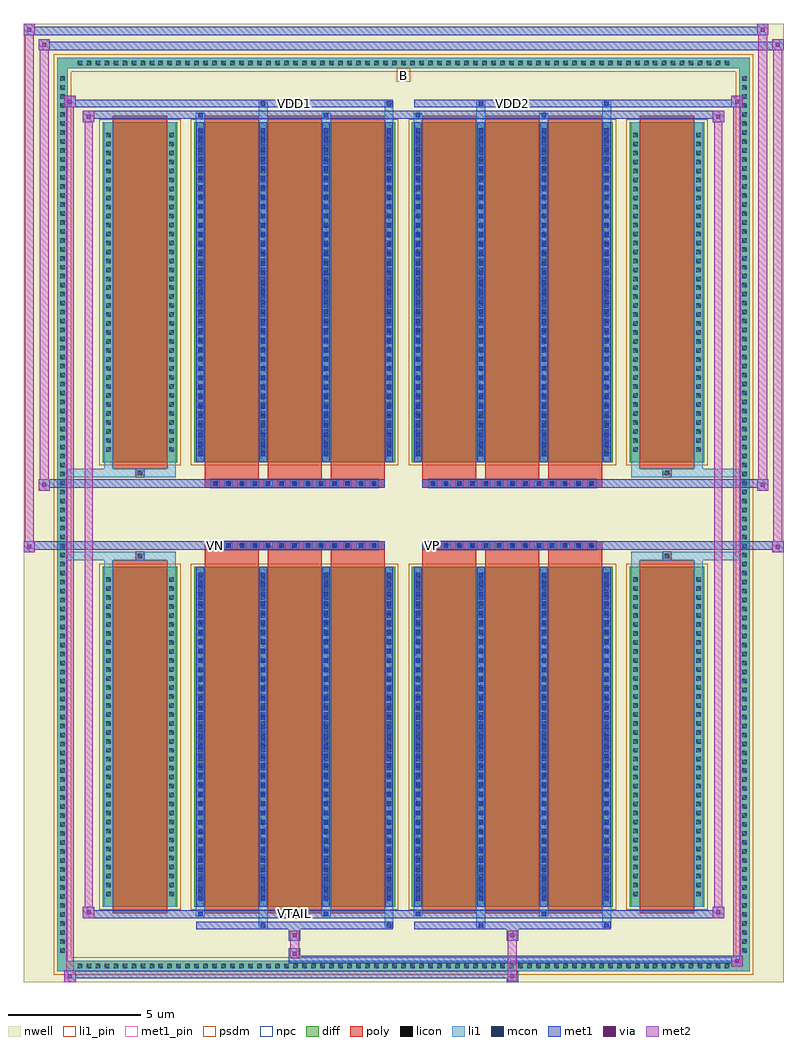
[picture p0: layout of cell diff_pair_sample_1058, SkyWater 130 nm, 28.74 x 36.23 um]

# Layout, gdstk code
import gdstk
lib = gdstk.Library(unit=1e-6, precision=5e-09)
def R(c, l, rs):  # rectangles x0, y0, x1, y1
    for r in rs: c.add(gdstk.rectangle(r[:2], r[2:], *l))
def A(c, l, x, y, w, h, nx, ny, dx, dy):  # array of equal rectangles
    R(c, l, [(x+i*dx, y+j*dy, x+i*dx+w, y+j*dy+h) for i in range(nx) for j in range(ny)])
def P(c, l, *ps):  # polygons
    for p in ps: c.add(gdstk.Polygon(p, *l))
nwell = (64, 20)
diff = (65, 20)
poly = (66, 20)
licon = (66, 44)
li1_pin = (67, 16)
li1 = (67, 20)
mcon = (67, 44)
met1_pin = (68, 16)
met1 = (68, 20)
via = (68, 44)
met2 = (69, 20)
psdm = (94, 20)
npc = (95, 20)

diff_pair_sample_1058 = lib.new_cell('diff_pair_sample_1058')
R(diff_pair_sample_1058, nwell, [(-14.37,-17.68,14.37,18.55), (-11.69,-15.87,-0.01,-0.805), (0.01,-15.87,11.69,-0.805), (-11.69,0.805,-0.01,15.87), (0.01,0.805,11.69,15.87)])
A(diff_pair_sample_1058, diff, -12.445, -17.28, 0.41, 0.41, 73, 2, 0.34, 34.15)
A(diff_pair_sample_1058, diff, -13.1, -16.695, 0.41, 0.41, 1, 98, 0, 0.34)
A(diff_pair_sample_1058, diff, 12.69, -16.695, 0.41, 0.41, 1, 98, 0, 0.34)
R(diff_pair_sample_1058, diff, [(-12.445,-17.28,12.445,-16.87), (-13.1,-16.695,-12.69,16.695), (12.69,-16.695,13.1,16.695), (-11.38,-14.825,-8.55,-1.985), (-7.91,-14.825,-0.32,-1.985), (0.32,-14.825,7.91,-1.985), (8.55,-14.825,11.38,-1.985), (-11.38,1.985,-8.55,14.825), (-7.91,1.985,-0.32,14.825), (0.32,1.985,7.91,14.825), (8.55,1.985,11.38,14.825), (-12.445,16.87,12.445,17.28)])
P(diff_pair_sample_1058, diff, [(13.1,17.28),(-13.1,17.28),(-13.1,-16.87),(-12.69,-16.87),(-12.69,16.87),(12.69,16.87),(12.69,-16.87),(-12.69,-16.87),(-13.1,-16.87),(-13.1,-17.28),(13.1,-17.28)])
A(diff_pair_sample_1058, poly, -7.52, -15.075, 2.05, 13.34, 3, 2, 2.38, 16.81)
A(diff_pair_sample_1058, poly, 0.71, -15.075, 2.05, 13.34, 3, 2, 2.38, 16.81)
A(diff_pair_sample_1058, poly, -7.52, -1.735, 2.05, 0.4, 3, 2, 2.38, 3.07)
A(diff_pair_sample_1058, poly, 0.71, -1.735, 2.05, 0.4, 3, 2, 2.38, 3.07)
A(diff_pair_sample_1058, poly, -7.28, -1.335, 0.33, 0.33, 13, 2, 0.5, 2.34)
A(diff_pair_sample_1058, poly, 0.95, -1.335, 0.33, 0.33, 13, 2, 0.5, 2.34)
R(diff_pair_sample_1058, poly, [(-10.99,-15.075,-8.94,-1.735), (8.94,-15.075,10.99,-1.735), (-10.13,-1.735,-9.8,-1.405), (-10.13,-1.735,-9.8,-1.405), (9.8,-1.735,10.13,-1.405), (9.8,-1.735,10.13,-1.405), (-7.52,-1.335,-0.71,-1.005), (0.71,-1.335,7.52,-1.005), (-7.52,1.005,-0.71,1.335), (0.71,1.005,7.52,1.335), (-10.13,1.405,-9.8,1.735), (-10.13,1.405,-9.8,1.735), (9.8,1.405,10.13,1.735), (9.8,1.405,10.13,1.735), (-10.99,1.735,-8.94,15.075), (8.94,1.735,10.99,15.075)])
A(diff_pair_sample_1058, licon, -12.325, -17.16, 0.17, 0.17, 73, 2, 0.34, 34.15)
A(diff_pair_sample_1058, licon, -12.98, -16.575, 0.17, 0.17, 1, 98, 0, 0.34)
A(diff_pair_sample_1058, licon, 12.81, -16.575, 0.17, 0.17, 1, 98, 0, 0.34)
A(diff_pair_sample_1058, licon, -11.24, -14.44, 0.17, 0.17, 1, 36, 0, 0.34)
A(diff_pair_sample_1058, licon, -8.86, -14.44, 0.17, 0.17, 1, 36, 0, 0.34)
A(diff_pair_sample_1058, licon, -7.77, -14.44, 0.17, 0.17, 4, 36, 2.38, 0.34)
A(diff_pair_sample_1058, licon, 0.46, -14.44, 0.17, 0.17, 4, 36, 2.38, 0.34)
A(diff_pair_sample_1058, licon, 8.69, -14.44, 0.17, 0.17, 1, 36, 0, 0.34)
A(diff_pair_sample_1058, licon, 11.07, -14.44, 0.17, 0.17, 1, 36, 0, 0.34)
A(diff_pair_sample_1058, licon, -7.2, -1.255, 0.17, 0.17, 13, 2, 0.5, 2.34)
A(diff_pair_sample_1058, licon, 1.03, -1.255, 0.17, 0.17, 13, 2, 0.5, 2.34)
A(diff_pair_sample_1058, licon, -11.24, 2.37, 0.17, 0.17, 1, 36, 0, 0.34)
A(diff_pair_sample_1058, licon, -8.86, 2.37, 0.17, 0.17, 1, 36, 0, 0.34)
A(diff_pair_sample_1058, licon, -7.77, 2.37, 0.17, 0.17, 4, 36, 2.38, 0.34)
A(diff_pair_sample_1058, licon, 0.46, 2.37, 0.17, 0.17, 4, 36, 2.38, 0.34)
A(diff_pair_sample_1058, licon, 8.69, 2.37, 0.17, 0.17, 1, 36, 0, 0.34)
A(diff_pair_sample_1058, licon, 11.07, 2.37, 0.17, 0.17, 1, 36, 0, 0.34)
R(diff_pair_sample_1058, licon, [(-10.05,-1.655,-9.88,-1.485), (9.88,-1.655,10.05,-1.485), (-10.05,1.485,-9.88,1.655), (9.88,1.485,10.05,1.655)])
R(diff_pair_sample_1058, li1_pin, [(-0.25,16.37,0.25,16.87)])
A(diff_pair_sample_1058, li1, -12.405, -17.24, 0.33, 0.33, 73, 2, 0.34, 34.15)
A(diff_pair_sample_1058, li1, -13.06, -16.655, 0.33, 0.33, 1, 98, 0, 0.34)
A(diff_pair_sample_1058, li1, 12.73, -16.655, 0.33, 0.33, 1, 98, 0, 0.34)
A(diff_pair_sample_1058, li1, -7.85, -14.825, 0.33, 12.84, 4, 2, 2.38, 16.81)
A(diff_pair_sample_1058, li1, 0.38, -14.825, 0.33, 12.84, 4, 2, 2.38, 16.81)
A(diff_pair_sample_1058, li1, -7.77, -14.61, 0.17, 0.17, 4, 35, 2.38, 0.36)
A(diff_pair_sample_1058, li1, -7.77, -14.61, 0.17, 12.41, 4, 2, 2.38, 16.81)
A(diff_pair_sample_1058, li1, 0.46, -14.61, 0.17, 0.17, 4, 35, 2.38, 0.36)
A(diff_pair_sample_1058, li1, 0.46, -14.61, 0.17, 12.41, 4, 2, 2.38, 16.81)
A(diff_pair_sample_1058, li1, -11.32, -14.52, 0.33, 0.33, 1, 36, 0, 0.34)
A(diff_pair_sample_1058, li1, -8.94, -14.52, 0.33, 0.33, 1, 36, 0, 0.34)
A(diff_pair_sample_1058, li1, -7.85, -14.52, 0.33, 0.33, 4, 36, 2.38, 0.34)
A(diff_pair_sample_1058, li1, 0.38, -14.52, 0.33, 0.33, 4, 36, 2.38, 0.34)
A(diff_pair_sample_1058, li1, 8.61, -14.52, 0.33, 0.33, 1, 36, 0, 0.34)
A(diff_pair_sample_1058, li1, 10.99, -14.52, 0.33, 0.33, 1, 36, 0, 0.34)
A(diff_pair_sample_1058, li1, -7.28, -1.335, 0.33, 0.33, 13, 2, 0.5, 2.34)
A(diff_pair_sample_1058, li1, 0.95, -1.335, 0.33, 0.33, 13, 2, 0.5, 2.34)
A(diff_pair_sample_1058, li1, -7.77, 2.2, 0.17, 0.17, 4, 35, 2.38, 0.36)
A(diff_pair_sample_1058, li1, 0.46, 2.2, 0.17, 0.17, 4, 35, 2.38, 0.36)
A(diff_pair_sample_1058, li1, -11.32, 2.29, 0.33, 0.33, 1, 36, 0, 0.34)
A(diff_pair_sample_1058, li1, -8.94, 2.29, 0.33, 0.33, 1, 36, 0, 0.34)
A(diff_pair_sample_1058, li1, -7.85, 2.29, 0.33, 0.33, 4, 36, 2.38, 0.34)
A(diff_pair_sample_1058, li1, 0.38, 2.29, 0.33, 0.33, 4, 36, 2.38, 0.34)
A(diff_pair_sample_1058, li1, 8.61, 2.29, 0.33, 0.33, 1, 36, 0, 0.34)
A(diff_pair_sample_1058, li1, 10.99, 2.29, 0.33, 0.33, 1, 36, 0, 0.34)
R(diff_pair_sample_1058, li1, [(-13.1,-17.28,-12.69,-16.87), (-13.1,-17.28,-12.69,-16.87), (-12.69,-17.28,12.69,-16.87), (12.69,-17.28,13.1,-16.87), (12.69,-17.28,13.1,-16.87), (-13.1,-16.87,-12.69,16.87), (12.69,-16.87,13.1,16.87), (-5.47,-15.63,-5.14,-14.825), (-5.39,-15.63,-5.22,-15.46), (-0.71,-15.63,-0.38,-14.825), (-0.63,-15.63,-0.46,-15.46), (2.76,-15.63,3.09,-14.825), (2.84,-15.63,3.01,-15.46), (7.52,-15.63,7.85,-14.825), (7.6,-15.63,7.77,-15.46), (-7.85,-15.2,-7.52,-14.825), (-7.77,-15.2,-7.6,-15.03), (-3.09,-15.2,-2.76,-14.825), (-3.01,-15.2,-2.84,-15.03), (0.38,-15.2,0.71,-14.825), (0.46,-15.2,0.63,-15.03), (5.14,-15.2,5.47,-14.825), (5.22,-15.2,5.39,-15.03), (-11.32,-14.825,-10.99,-1.985), (-8.94,-14.825,-8.61,-1.985), (8.61,-14.825,8.94,-1.985), (10.99,-14.825,11.32,-1.985), (-11.32,-1.985,-10.99,-1.405), (-8.94,-1.985,-8.61,-1.405), (8.61,-1.985,8.94,-1.405), (10.99,-1.985,11.32,-1.405), (-13.1,-1.735,-10.13,-1.405), (-11.32,-1.735,-10.13,-1.405), (-10.13,-1.735,-9.8,-1.405), (-9.8,-1.735,-8.61,-1.405), (8.61,-1.735,9.8,-1.405), (9.8,-1.735,10.13,-1.405), (9.8,-1.735,13.1,-1.405), (10.13,-1.735,11.32,-1.405), (-13.1,1.405,-10.13,1.735), (-11.32,1.405,-10.13,1.735), (-11.32,1.405,-10.99,1.985), (-10.13,1.405,-9.8,1.735), (-9.8,1.405,-8.61,1.735), (-8.94,1.405,-8.61,1.985), (8.61,1.405,9.8,1.735), (8.61,1.405,8.94,1.985), (9.8,1.405,10.13,1.735), (9.8,1.405,13.1,1.735), (10.13,1.405,11.32,1.735), (10.99,1.405,11.32,1.985), (-11.32,1.985,-10.99,14.825), (-8.94,1.985,-8.61,14.825), (8.61,1.985,8.94,14.825), (10.99,1.985,11.32,14.825), (-7.85,14.825,-7.52,15.2), (-5.47,14.825,-5.14,15.63), (-3.09,14.825,-2.76,15.2), (-0.71,14.825,-0.38,15.63), (0.38,14.825,0.71,15.2), (2.76,14.825,3.09,15.63), (5.14,14.825,5.47,15.2), (7.52,14.825,7.85,15.63), (-7.77,15.03,-7.6,15.2), (-3.01,15.03,-2.84,15.2), (0.46,15.03,0.63,15.2), (5.22,15.03,5.39,15.2), (-5.39,15.46,-5.22,15.63), (-0.63,15.46,-0.46,15.63), (2.84,15.46,3.01,15.63), (7.6,15.46,7.77,15.63), (-13.1,16.87,-12.69,17.28), (-13.1,16.87,-12.69,17.28), (-12.69,16.87,12.69,17.28), (12.69,16.87,13.1,17.28), (12.69,16.87,13.1,17.28)])
A(diff_pair_sample_1058, mcon, -7.77, -14.61, 0.17, 0.17, 4, 35, 2.38, 0.36)
A(diff_pair_sample_1058, mcon, 0.46, -14.61, 0.17, 0.17, 4, 35, 2.38, 0.36)
A(diff_pair_sample_1058, mcon, -7.2, -1.255, 0.17, 0.17, 13, 2, 0.5, 2.34)
A(diff_pair_sample_1058, mcon, 1.03, -1.255, 0.17, 0.17, 13, 2, 0.5, 2.34)
A(diff_pair_sample_1058, mcon, -7.77, 2.2, 0.17, 0.17, 4, 35, 2.38, 0.36)
A(diff_pair_sample_1058, mcon, 0.46, 2.2, 0.17, 0.17, 4, 35, 2.38, 0.36)
R(diff_pair_sample_1058, mcon, [(-5.39,-15.63,-5.22,-15.46), (-0.63,-15.63,-0.46,-15.46), (2.84,-15.63,3.01,-15.46), (7.6,-15.63,7.77,-15.46), (-7.77,-15.2,-7.6,-15.03), (-3.01,-15.2,-2.84,-15.03), (0.46,-15.2,0.63,-15.03), (5.22,-15.2,5.39,-15.03), (-7.77,15.03,-7.6,15.2), (-3.01,15.03,-2.84,15.2), (0.46,15.03,0.63,15.2), (5.22,15.03,5.39,15.2), (-5.39,15.46,-5.22,15.63), (-0.63,15.46,-0.46,15.63), (2.84,15.46,3.01,15.63), (7.6,15.46,7.77,15.63)])
R(diff_pair_sample_1058, met1_pin, [(-4.25,-15.24,-3.98,-14.97), (-7.25,-1.295,-6.98,-1.025), (0.98,-1.295,1.25,-1.025), (-4.25,15.42,-3.98,15.69), (3.98,15.42,4.25,15.69)])
A(diff_pair_sample_1058, met1, -7.83, -14.825, 0.29, 12.84, 4, 2, 2.38, 16.81)
A(diff_pair_sample_1058, met1, 0.4, -14.825, 0.29, 12.84, 4, 2, 2.38, 16.81)
A(diff_pair_sample_1058, met1, -7.83, -14.67, 0.29, 0.29, 4, 35, 2.38, 0.36)
A(diff_pair_sample_1058, met1, 0.4, -14.67, 0.29, 0.29, 4, 35, 2.38, 0.36)
A(diff_pair_sample_1058, met1, -7.26, -1.315, 0.29, 0.29, 13, 2, 0.5, 2.34)
A(diff_pair_sample_1058, met1, 0.97, -1.315, 0.29, 0.29, 13, 2, 0.5, 2.34)
A(diff_pair_sample_1058, met1, -7.83, 2.14, 0.29, 0.29, 4, 35, 2.38, 0.36)
A(diff_pair_sample_1058, met1, 0.4, 2.14, 0.29, 0.29, 4, 35, 2.38, 0.36)
R(diff_pair_sample_1058, met1, [(-12.83,-17.68,-12.4,-17.25), (3.9,-17.68,4.33,-17.25), (-12.83,-17.54,4.33,-17.25), (12.4,-17.11,12.83,-16.68), (-4.33,-16.97,12.83,-16.68), (-4.33,-16.83,-3.9,-16.4), (-4.33,-16.12,-3.9,-15.69), (3.9,-16.12,4.33,-15.69), (-7.83,-15.69,-0.4,-15.4), (-5.45,-15.69,-5.16,-15.4), (-0.69,-15.69,-0.4,-15.4), (0.4,-15.69,7.83,-15.4), (2.78,-15.69,3.07,-15.4), (7.54,-15.69,7.83,-15.4), (-12.12,-15.26,-11.69,-14.83), (-12.12,-15.26,-7.83,-14.97), (-7.83,-15.26,-7.54,-14.97), (-7.83,-15.26,-0.4,-14.97), (-3.07,-15.26,-2.78,-14.97), (-0.4,-15.26,0.4,-14.97), (0.4,-15.26,0.69,-14.97), (0.4,-15.26,7.83,-14.97), (5.16,-15.26,5.45,-14.97), (7.83,-15.26,12.12,-14.97), (11.69,-15.26,12.12,-14.83), (-14.37,-1.435,-13.94,-1.005), (13.94,-1.435,14.37,-1.005), (-14.37,-1.335,-0.71,-1.005), (-7.52,-1.335,-0.71,-1.005), (0.71,-1.335,7.52,-1.005), (0.71,-1.335,14.37,-1.005), (-13.8,0.905,-13.37,1.335), (13.37,0.905,13.8,1.335), (-13.8,1.005,-7.52,1.335), (-7.52,1.005,-0.71,1.335), (0.71,1.005,7.52,1.335), (7.52,1.005,13.8,1.335), (-12.12,14.83,-11.69,15.26), (11.69,14.83,12.12,15.26), (-12.12,14.97,-7.83,15.26), (-7.83,14.97,-7.54,15.26), (-7.83,14.97,-0.4,15.26), (-3.07,14.97,-2.78,15.26), (-0.4,14.97,0.4,15.26), (0.4,14.97,0.69,15.26), (0.4,14.97,7.83,15.26), (5.16,14.97,5.45,15.26), (7.83,14.97,12.12,15.26), (-12.83,15.4,-12.4,15.83), (-12.83,15.4,-7.83,15.69), (-7.83,15.4,-0.4,15.69), (-5.45,15.4,-5.16,15.69), (-0.69,15.4,-0.4,15.69), (0.4,15.4,7.83,15.69), (2.78,15.4,3.07,15.69), (7.54,15.4,7.83,15.69), (7.83,15.4,12.83,15.69), (12.4,15.4,12.83,15.83), (-13.8,17.55,-13.37,17.98), (-13.8,17.55,-11.69,17.88), (-11.69,17.55,11.69,17.88), (11.69,17.55,14.37,17.88), (13.94,17.55,14.37,17.98), (-14.37,18.12,-13.94,18.55), (-14.37,18.12,-11.69,18.45), (-11.69,18.12,11.69,18.45), (11.69,18.12,13.8,18.45), (13.37,18.12,13.8,18.55)])
R(diff_pair_sample_1058, via, [(-12.69,-17.54,-12.54,-17.39), (4.04,-17.54,4.19,-17.39), (12.54,-16.97,12.69,-16.82), (-4.19,-16.69,-4.04,-16.54), (-4.19,-15.98,-4.04,-15.83), (4.04,-15.98,4.19,-15.83), (-11.98,-15.12,-11.83,-14.97), (11.83,-15.12,11.98,-14.97), (-14.23,-1.295,-14.08,-1.145), (14.08,-1.295,14.23,-1.145), (-13.66,1.045,-13.51,1.195), (13.51,1.045,13.66,1.195), (-11.98,14.97,-11.83,15.12), (11.83,14.97,11.98,15.12), (-12.69,15.54,-12.54,15.69), (12.54,15.54,12.69,15.69), (-13.66,17.69,-13.51,17.84), (14.08,17.69,14.23,17.84), (-14.23,18.26,-14.08,18.41), (13.51,18.26,13.66,18.41)])
R(diff_pair_sample_1058, met2, [(-12.83,-17.68,-12.4,-17.25), (-12.76,-17.68,-12.47,15.83), (-12.47,-17.68,-12.4,-17.25), (-12.78,-17.63,-12.45,-17.3), (3.95,-17.63,4.28,-17.3), (3.95,-17.3,4.28,-16.07), (12.4,-17.11,12.83,-16.68), (12.47,-17.11,12.76,15.83), (12.76,-17.11,12.83,-16.68), (12.45,-17.06,12.78,-16.73), (-4.28,-16.78,-3.95,-16.45), (-4.28,-16.45,-3.95,-16.07), (-4.28,-16.07,-3.95,-15.74), (3.95,-16.07,4.28,-15.74), (-12.12,-15.26,-11.69,-14.83), (-12.05,-15.26,-11.76,15.26), (-11.76,-15.26,-11.69,-14.83), (11.69,-15.26,12.12,-14.83), (11.76,-15.26,12.05,15.26), (12.05,-15.26,12.12,-14.83), (-12.07,-15.21,-11.74,-14.88), (11.74,-15.21,12.07,-14.88), (-14.37,-1.435,-13.94,-1.005), (-14.32,-1.435,-13.99,18.55), (-13.99,-1.435,-13.94,-1.005), (13.94,-1.435,14.37,-1.005), (13.99,-1.435,14.32,17.98), (14.32,-1.435,14.37,-1.005), (-14.32,-1.385,-13.99,-1.055), (13.99,-1.385,14.32,-1.055), (-13.8,0.905,-13.37,1.335), (-13.75,0.905,-13.42,17.98), (-13.42,0.905,-13.37,1.335), (13.37,0.905,13.8,1.335), (13.42,0.905,13.75,18.55), (13.75,0.905,13.8,1.335), (-13.75,0.955,-13.42,1.285), (13.42,0.955,13.75,1.285), (-12.12,14.83,-11.69,15.26), (-11.76,14.83,-11.69,15.26), (11.69,14.83,12.12,15.26), (12.05,14.83,12.12,15.26), (-12.07,14.88,-11.74,15.21), (11.74,14.88,12.07,15.21), (-12.83,15.4,-12.4,15.83), (-12.47,15.4,-12.4,15.83), (12.4,15.4,12.83,15.83), (12.76,15.4,12.83,15.83), (-12.78,15.45,-12.45,15.78), (12.45,15.45,12.78,15.78), (-13.8,17.55,-13.37,17.98), (-13.42,17.55,-13.37,17.98), (13.94,17.55,14.37,17.98), (14.32,17.55,14.37,17.98), (-13.75,17.6,-13.42,17.93), (13.99,17.6,14.32,17.93), (-14.37,18.12,-13.94,18.55), (-13.99,18.12,-13.94,18.55), (13.37,18.12,13.8,18.55), (13.75,18.12,13.8,18.55), (-14.32,18.17,-13.99,18.5), (13.42,18.17,13.75,18.5)])
R(diff_pair_sample_1058, psdm, [(-11.51,-14.955,-8.42,-1.855), (-8.04,-14.955,-0.19,-1.855), (0.19,-14.955,8.04,-1.855), (8.42,-14.955,11.51,-1.855), (-11.51,1.855,-8.42,14.955), (-8.04,1.855,-0.19,14.955), (0.19,1.855,8.04,14.955), (8.42,1.855,11.51,14.955)])
P(diff_pair_sample_1058, psdm, [(13.23,17.41),(-13.23,17.41),(-13.23,-16.74),(-12.56,-16.74),(-12.56,16.74),(12.56,16.74),(12.56,-16.74),(-12.56,-16.74),(-13.23,-16.74),(-13.23,-17.41),(13.23,-17.41)])
A(diff_pair_sample_1058, npc, -7.3, -1.355, 0.37, 0.37, 13, 2, 0.5, 2.34)
A(diff_pair_sample_1058, npc, 0.93, -1.355, 0.37, 0.37, 13, 2, 0.5, 2.34)
R(diff_pair_sample_1058, npc, [(-10.15,-1.755,-9.78,-1.385), (9.78,-1.755,10.15,-1.385), (-7.3,-1.355,-6.43,-0.985), (-7.3,-1.355,-6.43,-0.985), (-6.8,-1.355,-5.93,-0.985), (-6.8,-1.355,-5.93,-0.985), (-6.3,-1.355,-5.43,-0.985), (-6.3,-1.355,-5.43,-0.985), (-5.8,-1.355,-4.93,-0.985), (-5.8,-1.355,-4.93,-0.985), (-5.3,-1.355,-4.43,-0.985), (-5.3,-1.355,-4.43,-0.985), (-4.8,-1.355,-3.93,-0.985), (-4.8,-1.355,-3.93,-0.985), (-4.3,-1.355,-3.43,-0.985), (-4.3,-1.355,-3.43,-0.985), (-3.8,-1.355,-2.93,-0.985), (-3.8,-1.355,-2.93,-0.985), (-3.3,-1.355,-2.43,-0.985), (-3.3,-1.355,-2.43,-0.985), (-2.8,-1.355,-1.93,-0.985), (-2.8,-1.355,-1.93,-0.985), (-2.3,-1.355,-1.43,-0.985), (-2.3,-1.355,-1.43,-0.985), (-1.8,-1.355,-0.93,-0.985), (-1.8,-1.355,-0.93,-0.985), (0.93,-1.355,1.8,-0.985), (0.93,-1.355,1.8,-0.985), (1.43,-1.355,2.3,-0.985), (1.43,-1.355,2.3,-0.985), (1.93,-1.355,2.8,-0.985), (1.93,-1.355,2.8,-0.985), (2.43,-1.355,3.3,-0.985), (2.43,-1.355,3.3,-0.985), (2.93,-1.355,3.8,-0.985), (2.93,-1.355,3.8,-0.985), (3.43,-1.355,4.3,-0.985), (3.43,-1.355,4.3,-0.985), (3.93,-1.355,4.8,-0.985), (3.93,-1.355,4.8,-0.985), (4.43,-1.355,5.3,-0.985), (4.43,-1.355,5.3,-0.985), (4.93,-1.355,5.8,-0.985), (4.93,-1.355,5.8,-0.985), (5.43,-1.355,6.3,-0.985), (5.43,-1.355,6.3,-0.985), (5.93,-1.355,6.8,-0.985), (5.93,-1.355,6.8,-0.985), (6.43,-1.355,7.3,-0.985), (6.43,-1.355,7.3,-0.985), (-7.3,0.985,-6.43,1.355), (-7.3,0.985,-6.43,1.355), (-6.8,0.985,-5.93,1.355), (-6.8,0.985,-5.93,1.355), (-6.3,0.985,-5.43,1.355), (-6.3,0.985,-5.43,1.355), (-5.8,0.985,-4.93,1.355), (-5.8,0.985,-4.93,1.355), (-5.3,0.985,-4.43,1.355), (-5.3,0.985,-4.43,1.355), (-4.8,0.985,-3.93,1.355), (-4.8,0.985,-3.93,1.355), (-4.3,0.985,-3.43,1.355), (-4.3,0.985,-3.43,1.355), (-3.8,0.985,-2.93,1.355), (-3.8,0.985,-2.93,1.355), (-3.3,0.985,-2.43,1.355), (-3.3,0.985,-2.43,1.355), (-2.8,0.985,-1.93,1.355), (-2.8,0.985,-1.93,1.355), (-2.3,0.985,-1.43,1.355), (-2.3,0.985,-1.43,1.355), (-1.8,0.985,-0.93,1.355), (-1.8,0.985,-0.93,1.355), (0.93,0.985,1.8,1.355), (0.93,0.985,1.8,1.355), (1.43,0.985,2.3,1.355), (1.43,0.985,2.3,1.355), (1.93,0.985,2.8,1.355), (1.93,0.985,2.8,1.355), (2.43,0.985,3.3,1.355), (2.43,0.985,3.3,1.355), (2.93,0.985,3.8,1.355), (2.93,0.985,3.8,1.355), (3.43,0.985,4.3,1.355), (3.43,0.985,4.3,1.355), (3.93,0.985,4.8,1.355), (3.93,0.985,4.8,1.355), (4.43,0.985,5.3,1.355), (4.43,0.985,5.3,1.355), (4.93,0.985,5.8,1.355), (4.93,0.985,5.8,1.355), (5.43,0.985,6.3,1.355), (5.43,0.985,6.3,1.355), (5.93,0.985,6.8,1.355), (5.93,0.985,6.8,1.355), (6.43,0.985,7.3,1.355), (6.43,0.985,7.3,1.355), (-10.15,1.385,-9.78,1.755), (9.78,1.385,10.15,1.755)])
diff_pair_sample_1058.add(gdstk.Label('VTAIL', (-4.115,-15.105), layer=68, texttype=5))
diff_pair_sample_1058.add(gdstk.Label('VN', (-7.115,-1.16), layer=68, texttype=5))
diff_pair_sample_1058.add(gdstk.Label('VP', (1.115,-1.16), layer=68, texttype=5))
diff_pair_sample_1058.add(gdstk.Label('B', (0,16.62), layer=67, texttype=5))
diff_pair_sample_1058.add(gdstk.Label('VDD2', (4.115,15.555), layer=68, texttype=5))
diff_pair_sample_1058.add(gdstk.Label('VDD1', (-4.115,15.555), layer=68, texttype=5))

lib.write_gds('diff_pair_sample_1058.gds')
